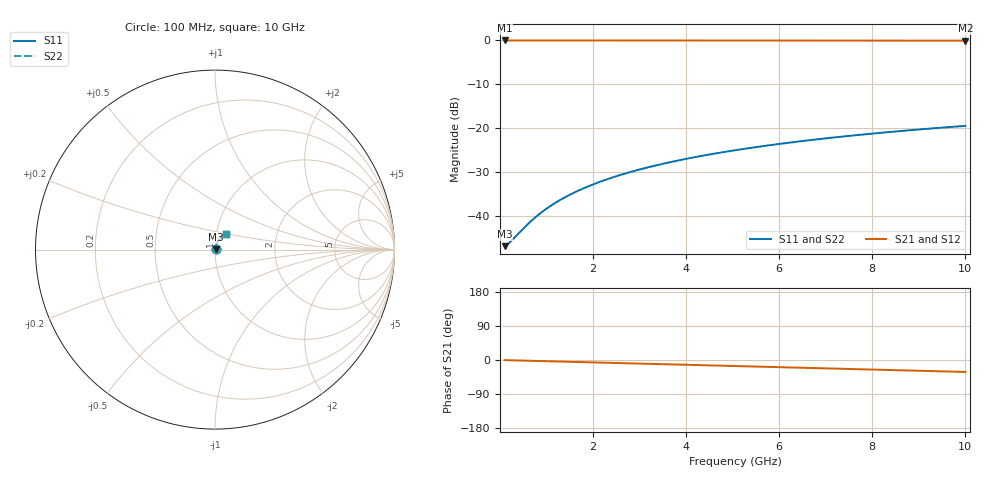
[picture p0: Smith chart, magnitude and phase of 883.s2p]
# Hz S RI R 50.00
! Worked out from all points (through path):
!   100 points, 100 MHz to 10 GHz, reference 50 ohm
!   highest |S21| = -0.04 dB at 100 MHz (marker M1); lowest = -0.1 dB at 10 GHz (marker M2)
!   group delay of S21, straight-line fit = 8.76 ps
!   lowest |S11| = -47.0 dB at 100 MHz (marker M3), VSWR 1.01, Z = 50.4 + j0.11 ohm
!   |S11| at or under -10 dB: start of sweep to end of sweep
!   |S22| runs from -47.0 to -19.5 dB; largest |S21 - S12| = 0
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1e8  0.00436 0.00109  0.9956 -0.00548  0.9956 -0.00548  0.00436 0.00109
2e8  0.0044 0.00218  0.9956 -0.011  0.9956 -0.011  0.0044 0.00218
3e8  0.00445 0.00328  0.9954 -0.0164  0.9954 -0.0164  0.00445 0.00328
5e8  0.00458 0.00546  0.9952 -0.0274  0.9952 -0.0274  0.00458 0.00546
7e8  0.00474 0.00763  0.9948 -0.0384  0.9948 -0.0384  0.00474 0.00763
8e8  0.00484 0.00872  0.9945 -0.0438  0.9945 -0.0438  0.00484 0.00872
1e9  0.00507 0.0109  0.9939 -0.0548  0.9939 -0.0548  0.00507 0.0109
1.2e9  0.00535 0.0131  0.9932 -0.0657  0.9932 -0.0657  0.00535 0.0131
1.4e9  0.00568 0.0152  0.9924 -0.0767  0.9924 -0.0767  0.00568 0.0152
1.6e9  0.00605 0.0174  0.9914 -0.0876  0.9914 -0.0876  0.00605 0.0174
1.8e9  0.00647 0.0195  0.9903 -0.0985  0.9903 -0.0985  0.00647 0.0195
2.1e9  0.00718 0.0227  0.9885 -0.1148  0.9885 -0.1148  0.00718 0.0227
2.5e9  0.0083 0.0269  0.9856 -0.1366  0.9856 -0.1366  0.0083 0.0269
2.9e9  0.0096 0.0311  0.9821 -0.1582  0.9821 -0.1582  0.0096 0.0311
3.4e9  0.0115 0.0362  0.9772 -0.1852  0.9772 -0.1852  0.0115 0.0362
4.2e9  0.0151 0.0441  0.9677 -0.2279  0.9677 -0.2279  0.0151 0.0441
5.1e9  0.0199 0.0526  0.9547 -0.2754  0.9547 -0.2754  0.0199 0.0526
5.9e9  0.0249 0.0597  0.9411 -0.317  0.9411 -0.317  0.0249 0.0597
6.7e9  0.0305 0.0664  0.9257 -0.3579  0.9257 -0.3579  0.0305 0.0664
7.5e9  0.0367 0.0725  0.9084 -0.398  0.9084 -0.398  0.0367 0.0725
8.4e9  0.0442 0.0787  0.8869 -0.4421  0.8869 -0.4421  0.0442 0.0787
1e10  0.059 0.0877  0.8434 -0.5174  0.8434 -0.5174  0.059 0.0877
